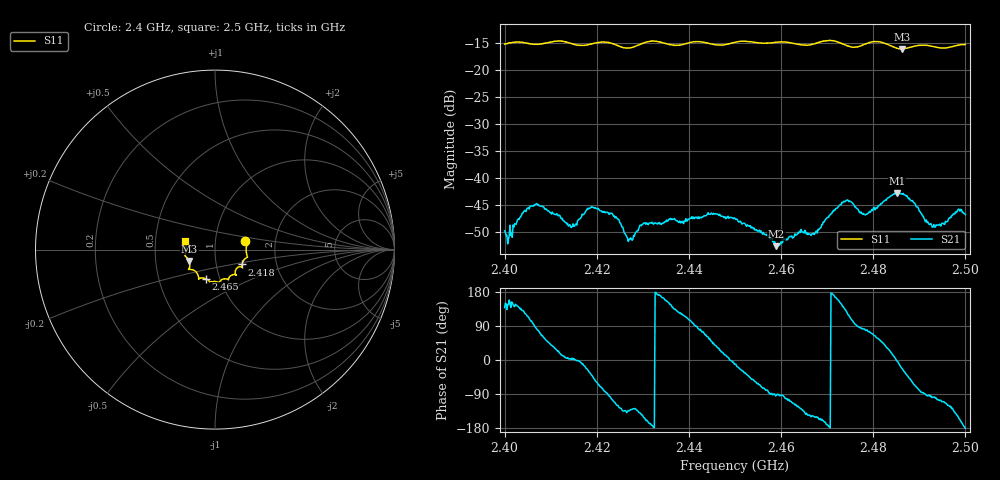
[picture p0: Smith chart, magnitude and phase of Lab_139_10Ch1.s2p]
# Hz S RI R 50
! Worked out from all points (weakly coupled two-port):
!   601 points, 2.4 GHz to 2.5 GHz, reference 50 ohm
!   highest |S21| = -42.83 dB at 2.4852 GHz (marker M1); lowest = -52.7 dB at 2.459 GHz (marker M2)
!   lowest |S11| = -16.1 dB at 2.4862 GHz (marker M3), VSWR 1.37, Z = 37.2 - j4.85 ohm
!   |S11| at or under -10 dB: start of sweep to end of sweep
!   S12 and S22 are empty: the file has one direction only
!   S11 on the Smith chart (normalised r, x): 2.4 GHz: 1.40, +0.13; 2.418 GHz: 1.33, -0.23; 2.465 GHz: 0.86, -0.29; 2.5 GHz: 0.71, +0.07
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2.4e9  0.168 0.0464  -0.0024 0.00214  0 0  0 0
2.401167e9  0.1745 0.0393  -0.00315 0.00178  0 0  0 0
2.404e9  0.1786 0.0269  -0.00305 0.00357  0 0  0 0
2.406667e9  0.173 0.00123  0.000354 0.00564  0 0  0 0
2.414167e9  0.1715 -0.0475  0.00367 0.000245  0 0  0 0
2.416667e9  0.1549 -0.0678  0.00428 -0.000573  0 0  0 0
2.418e9  0.1501 -0.0829  0.0047 -0.00223  0 0  0 0
2.423333e9  0.1478 -0.0967  -0.00115 -0.00452  0 0  0 0
2.427333e9  0.1165 -0.1111  -0.00181 -0.00209  0 0  0 0
2.429833e9  0.1132 -0.1352  -0.00298 -0.00214  0 0  0 0
2.433333e9  0.1172 -0.1413  -0.00375 0.000573  0 0  0 0
2.45e9  0.0255 -0.1797  0.00409 -0.000822  0 0  0 0
2.459e9  -0.0229 -0.1799  -0.000108 -0.00231  0 0  0 0
2.465e9  -0.0525 -0.162  -0.0022 -0.00214  0 0  0 0
2.466667e9  -0.0709 -0.1576  -0.00255 -0.0016  0 0  0 0
2.474e9  -0.0947 -0.1419  -0.00399 0.00461  0 0  0 0
2.478167e9  -0.1341 -0.1106  0.000716 0.0045  0 0  0 0
2.483333e9  -0.1415 -0.0971  0.00577 0.00305  0 0  0 0
2.485167e9  -0.1402 -0.0756  0.00721 -0.000373  0 0  0 0
2.486167e9  -0.1436 -0.0637  0.00662 -0.00254  0 0  0 0
2.493e9  -0.1643 -0.0199  -0.000477 -0.00346  0 0  0 0
2.5e9  -0.1663 0.0474  -0.00455 -4.02e-06  0 0  0 0
